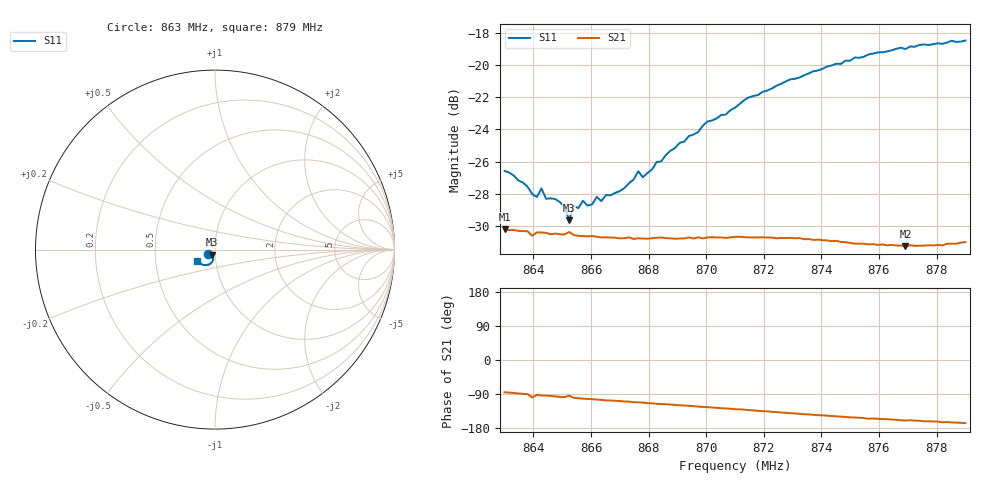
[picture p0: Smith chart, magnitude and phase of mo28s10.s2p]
# HZ S RI R 50
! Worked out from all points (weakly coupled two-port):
!   101 points, 863 MHz to 879 MHz, reference 50 ohm
!   highest |S21| = -30.19 dB at 863 MHz (marker M1); lowest = -31.2 dB at 876.92 MHz (marker M2)
!   lowest |S11| = -29.6 dB at 865.24 MHz (marker M3), VSWR 1.07, Z = 48.3 - j2.75 ohm
!   |S11| at or under -10 dB: start of sweep to end of sweep
!   S12 and S22 are empty: the file has one direction only
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8.63e8  -0.0382 -0.0272  0.00264 -0.0308  0 0  0 0
8.6412e8  -0.0288 -0.0262  -0.00104 -0.0303  0 0  0 0
8.6428e8  -0.0295 -0.029  -0.00189 -0.0302  0 0  0 0
8.6444e8  -0.0282 -0.0261  -0.00212 -0.0301  0 0  0 0
8.6492e8  -0.0241 -0.0288  -0.00383 -0.0296  0 0  0 0
8.6524e8  -0.0168 -0.0285  -0.00219 -0.0303  0 0  0 0
8.654e8  -0.0207 -0.0302  -0.00509 -0.0293  0 0  0 0
8.6556e8  -0.0204 -0.0296  -0.00556 -0.029  0 0  0 0
8.6572e8  -0.0198 -0.0324  -0.00616 -0.0289  0 0  0 0
8.6588e8  -0.0189 -0.0314  -0.00648 -0.0287  0 0  0 0
8.662e8  -0.0176 -0.0348  -0.00737 -0.0284  0 0  0 0
8.6636e8  -0.0172 -0.0337  -0.00766 -0.0282  0 0  0 0
8.6716e8  -0.0123 -0.0397  -0.00968 -0.0274  0 0  0 0
8.6764e8  -0.0127 -0.0451  -0.0107 -0.027  0 0  0 0
8.678e8  -0.0111 -0.0435  -0.011 -0.0268  0 0  0 0
8.6844e8  -0.00996 -0.0492  -0.013 -0.0262  0 0  0 0
8.7004e8  -0.0143 -0.0652  -0.0165 -0.0241  0 0  0 0
8.71e8  -0.0188 -0.0712  -0.0188 -0.0225  0 0  0 0
8.7372e8  -0.0425 -0.0855  -0.0234 -0.0166  0 0  0 0
8.7644e8  -0.0753 -0.0814  -0.0255 -0.0107  0 0  0 0
8.7692e8  -0.0795 -0.0787  -0.0257 -0.00951  0 0  0 0
8.79e8  -0.1016 -0.0618  -0.0275 -0.00654  0 0  0 0
